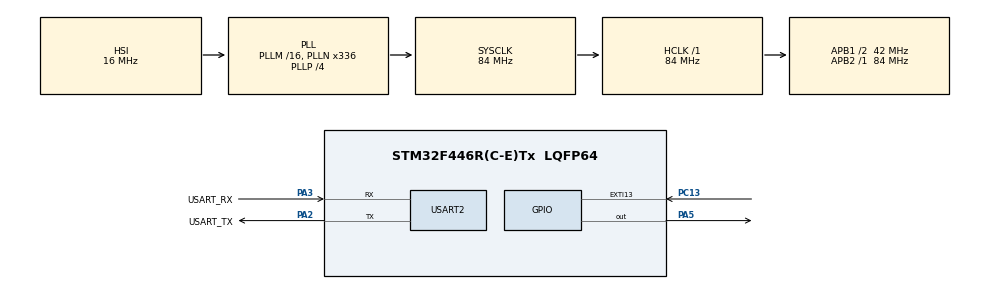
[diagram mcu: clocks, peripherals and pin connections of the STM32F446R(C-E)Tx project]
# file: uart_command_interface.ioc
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Mcu.Family=STM32F4
Mcu.Name=STM32F446R(C-E)Tx
Mcu.Package=LQFP64
NVIC.PriorityGroup=NVIC_PRIORITYGROUP_0
NVIC.USART2_IRQn=true\:0\:0\:false\:false\:true\:true\:true\:true
PA13.GPIO_Label=TMS
PA13.Mode=Serial_Wire
PA13.Signal=SYS_JTMS-SWDIO
PA14.GPIO_Label=TCK
PA14.Mode=Serial_Wire
PA14.Signal=SYS_JTCK-SWCLK
PA2.GPIO_Label=USART_TX
PA2.Mode=Asynchronous
PA2.Signal=USART2_TX
PA3.GPIO_Label=USART_RX
PA3.Mode=Asynchronous
PA3.Signal=USART2_RX
PA5.Signal=GPIO_Output
PB3.GPIO_Label=SWO
PB3.Signal=SYS_JTDO-SWO
PC13.Signal=GPXTI13
PC14-OSC32_IN.Mode=LSE-External-Oscillator
PC14-OSC32_IN.Signal=RCC_OSC32_IN
PC15-OSC32_OUT.Mode=LSE-External-Oscillator
PC15-OSC32_OUT.Signal=RCC_OSC32_OUT
PH0-OSC_IN.Mode=HSE-External-Oscillator
PH0-OSC_IN.Signal=RCC_OSC_IN
PH1-OSC_OUT.Mode=HSE-External-Oscillator
PH1-OSC_OUT.Signal=RCC_OSC_OUT
ProjectManager.HeapSize=0x200
ProjectManager.StackSize=0x400
ProjectManager.TargetToolchain=STM32CubeIDE
RCC.48MHZClocksFreq_Value=84000000
RCC.AHBFreq_Value=84000000
RCC.APB1CLKDivider=RCC_HCLK_DIV2
RCC.APB1Freq_Value=42000000
RCC.APB1TimFreq_Value=84000000
RCC.APB2Freq_Value=84000000
RCC.APB2TimFreq_Value=84000000
RCC.CortexFreq_Value=84000000
RCC.FLatency-AdvancedSettings=FLASH_LATENCY_2
RCC.HCLKFreq_Value=84000000
RCC.HSE_VALUE=8000000
RCC.HSI_VALUE=16000000
RCC.PLLN=336
RCC.PLLP=RCC_PLLP_DIV4
RCC.SYSCLKFreq_VALUE=84000000
RCC.SYSCLKSource=RCC_SYSCLKSOURCE_PLLCLK
RCC.USBFreq_Value=168000000
RCC.VCOOutputFreq_Value=336000000
USART2.VirtualMode=VM_ASYNC
board=NUCLEO-F446RE

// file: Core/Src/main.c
/* USER CODE BEGIN Header */
/**
  ******************************************************************************
  * @file           : main.c
  * @brief          : Main program body
  ******************************************************************************
  * @attention
  *
  * Copyright (c) 2026 STMicroelectronics.
  * All rights reserved.
  *
  * This software is licensed under terms that can be found in the LICENSE file
  * in the root directory of this software component.
  * If no LICENSE file comes with this software, it is provided AS-IS.
  *
  ******************************************************************************
  */
/* USER CODE END Header */
#include "main.h"

/* USER CODE BEGIN Includes */
#include<string.h>

/* USER CODE END Includes */

UART_HandleTypeDef huart2;

/* USER CODE BEGIN PV */
#define RX_BUFFER_SIZE 64
uint8_t rx_buf[RX_BUFFER_SIZE];
volatile uint8_t rx_idx=0;
volatile uint8_t cmd_ready=0;
uint8_t rx_byte;
volatile uint8_t enter_flag=0;

/* USER CODE END PV */

void SystemClock_Config(void);
static void MX_GPIO_Init(void);
static void MX_USART2_UART_Init(void);

int main(void)
{

  /* MCU Configuration--------------------------------------------------------*/

  /* Reset of all peripherals, Initializes the Flash interface and the Systick. */
  HAL_Init();

  /* Configure the system clock */
  SystemClock_Config();

  /* Initialize all configured peripherals */
  MX_GPIO_Init();
  MX_USART2_UART_Init();
  /* USER CODE BEGIN 2 */
  HAL_UART_Receive_IT(&huart2, &rx_byte, 1);

  /* USER CODE END 2 */

  /* Infinite loop */
  while (1)
  {
	  if(cmd_ready)
	  {
		  cmd_ready=0;
		  if(enter_flag)
		  {
			  enter_flag=0;
			  uint8_t help[]="Type help to see commands:\r\n";
			  HAL_UART_Transmit(&huart2, help, sizeof(help)-1, HAL_MAX_DELAY);
			  continue;
		  }
		  if(strcmp((char *)rx_buf, "6")==0)
		  {
			  uint8_t msg[]="67;)\r\n";
			  HAL_UART_Transmit(&huart2, msg, sizeof(msg)-1, HAL_MAX_DELAY);

		  }
		  else if(strcmp((char *)rx_buf, "help")==0)
		  {
			  uint8_t msg[]="Commands:\r\n"
					  "6\r\n"
					  "led on\r\n"
					  "led off\r\n";
			  HAL_UART_Transmit(&huart2, msg, sizeof(msg)-1, HAL_MAX_DELAY);
		  }
		  else if(strcmp((char *)rx_buf, "led on")==0)
		  {
			  HAL_GPIO_WritePin(GPIOA,GPIO_PIN_5,GPIO_PIN_SET);
			  uint8_t msg[]="LED ON\r\n";
			  HAL_UART_Transmit(&huart2, msg, sizeof(msg)-1,HAL_MAX_DELAY);
		  }
		  else if(strcmp((char *)rx_buf, "led off")==0)
		  {
			  HAL_GPIO_WritePin(GPIOA,GPIO_PIN_5,GPIO_PIN_RESET);
			  uint8_t msg[]="LED OFF\r\n";
			  HAL_UART_Transmit(&huart2, msg, sizeof(msg)-1,HAL_MAX_DELAY);
		  }
		  else
		  {
			  uint8_t msg[]="ERROR\r\n";
			  HAL_UART_Transmit(&huart2, msg, sizeof(msg)-1,HAL_MAX_DELAY);
		  }
	  }

  }
}

void SystemClock_Config(void)
{
  RCC_OscInitTypeDef RCC_OscInitStruct = {0};
  RCC_ClkInitTypeDef RCC_ClkInitStruct = {0};

  /** Configure the main internal regulator output voltage
  */
  __HAL_RCC_PWR_CLK_ENABLE();
  __HAL_PWR_VOLTAGESCALING_CONFIG(PWR_REGULATOR_VOLTAGE_SCALE3);

  /** Initializes the RCC Oscillators according to the specified parameters
  * in the RCC_OscInitTypeDef structure.
  */
  RCC_OscInitStruct.OscillatorType = RCC_OSCILLATORTYPE_HSI;
  RCC_OscInitStruct.HSIState = RCC_HSI_ON;
  RCC_OscInitStruct.HSICalibrationValue = RCC_HSICALIBRATION_DEFAULT;
  RCC_OscInitStruct.PLL.PLLState = RCC_PLL_ON;
  RCC_OscInitStruct.PLL.PLLSource = RCC_PLLSOURCE_HSI;
  RCC_OscInitStruct.PLL.PLLM = 16;
  RCC_OscInitStruct.PLL.PLLN = 336;
  RCC_OscInitStruct.PLL.PLLP = RCC_PLLP_DIV4;
  RCC_OscInitStruct.PLL.PLLQ = 2;
  RCC_OscInitStruct.PLL.PLLR = 2;
  if (HAL_RCC_OscConfig(&RCC_OscInitStruct) != HAL_OK)
  {
    Error_Handler();
  }

  /** Initializes the CPU, AHB and APB buses clocks
  */
  RCC_ClkInitStruct.ClockType = RCC_CLOCKTYPE_HCLK|RCC_CLOCKTYPE_SYSCLK
                              |RCC_CLOCKTYPE_PCLK1|RCC_CLOCKTYPE_PCLK2;
  RCC_ClkInitStruct.SYSCLKSource = RCC_SYSCLKSOURCE_PLLCLK;
  RCC_ClkInitStruct.AHBCLKDivider = RCC_SYSCLK_DIV1;
  RCC_ClkInitStruct.APB1CLKDivider = RCC_HCLK_DIV2;
  RCC_ClkInitStruct.APB2CLKDivider = RCC_HCLK_DIV1;

  if (HAL_RCC_ClockConfig(&RCC_ClkInitStruct, FLASH_LATENCY_2) != HAL_OK)
  {
    Error_Handler();
  }
}

static void MX_USART2_UART_Init(void)
{

  huart2.Instance = USART2;
  huart2.Init.BaudRate = 115200;
  huart2.Init.WordLength = UART_WORDLENGTH_8B;
  huart2.Init.StopBits = UART_STOPBITS_1;
  huart2.Init.Parity = UART_PARITY_NONE;
  huart2.Init.Mode = UART_MODE_TX_RX;
  huart2.Init.HwFlowCtl = UART_HWCONTROL_NONE;
  huart2.Init.OverSampling = UART_OVERSAMPLING_16;
  if (HAL_UART_Init(&huart2) != HAL_OK)
  {
    Error_Handler();
  }

}

static void MX_GPIO_Init(void)
{
  GPIO_InitTypeDef GPIO_InitStruct = {0};

  /* GPIO Ports Clock Enable */
  __HAL_RCC_GPIOC_CLK_ENABLE();
  __HAL_RCC_GPIOH_CLK_ENABLE();
  __HAL_RCC_GPIOA_CLK_ENABLE();
  __HAL_RCC_GPIOB_CLK_ENABLE();

  /*Configure GPIO pin Output Level */
  HAL_GPIO_WritePin(GPIOA, GPIO_PIN_5, GPIO_PIN_RESET);

  /*Configure GPIO pin : PC13 */
  GPIO_InitStruct.Pin = GPIO_PIN_13;
  GPIO_InitStruct.Mode = GPIO_MODE_IT_RISING;
  GPIO_InitStruct.Pull = GPIO_NOPULL;
  HAL_GPIO_Init(GPIOC, &GPIO_InitStruct);

  /*Configure GPIO pin : PA5 */
  GPIO_InitStruct.Pin = GPIO_PIN_5;
  GPIO_InitStruct.Mode = GPIO_MODE_OUTPUT_PP;
  GPIO_InitStruct.Pull = GPIO_NOPULL;
  GPIO_InitStruct.Speed = GPIO_SPEED_FREQ_LOW;
  HAL_GPIO_Init(GPIOA, &GPIO_InitStruct);

}

/* USER CODE BEGIN 4 */
void HAL_UART_RxCpltCallback(UART_HandleTypeDef *huart)
{
	if(huart->Instance==USART2)
	{
		if(!cmd_ready)
		{
			if(rx_byte=='\n' || rx_byte=='\r')
			{
				if(rx_idx==0)
				{
					enter_flag=1;
				}
				rx_buf[rx_idx]='\0';
				cmd_ready=1;
				rx_idx=0;
			}
			else
			{
				if(rx_idx < RX_BUFFER_SIZE-1)
				{
					rx_buf[rx_idx]=rx_byte;
					rx_idx++;
				}
				else
				{
					rx_idx=0;
				}
			}
		}
		HAL_UART_Receive_IT(&huart2, &rx_byte, 1);
	}
}

/* USER CODE END 4 */

void Error_Handler(void)
{
  __disable_irq();
  while (1)
  {
  }
}
